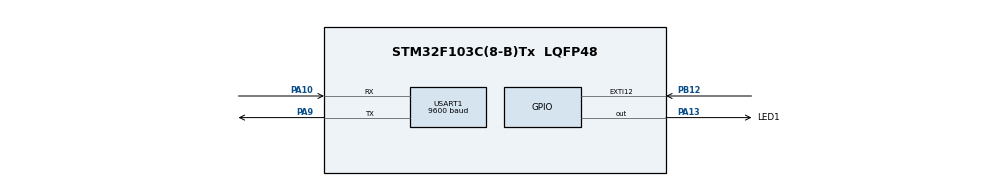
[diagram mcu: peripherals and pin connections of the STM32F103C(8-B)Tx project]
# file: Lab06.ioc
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Mcu.Family=STM32F1
Mcu.Name=STM32F103C(8-B)Tx
Mcu.Package=LQFP48
NVIC.EXTI15_10_IRQn=true\:0\:0\:false\:true\:true\:3\:true\:true\:true
NVIC.PriorityGroup=NVIC_PRIORITYGROUP_4
NVIC.TIM2_IRQn=true\:0\:0\:false\:true\:true\:2\:true\:true\:true
NVIC.USART1_IRQn=true\:0\:0\:false\:true\:true\:1\:true\:true\:true
PA10.Mode=Asynchronous
PA10.Signal=USART1_RX
PA13.GPIO_Label=LED1
PA13.Signal=GPIO_Output
PA9.Mode=Asynchronous
PA9.Signal=USART1_TX
PB12.GPIO_PuPd=GPIO_PULLDOWN
PB12.Signal=GPXTI12
ProjectManager.HeapSize=0x200
ProjectManager.StackSize=0x400
ProjectManager.TargetToolchain=STM32CubeIDE
RCC.APB1Freq_Value=8000000
RCC.APB2Freq_Value=8000000
TIM2.Period=10
TIM2.Prescaler=8000
USART1.BaudRate=9600
USART1.VirtualMode=VM_ASYNC
VP_TIM2_VS_ClockSourceINT.Mode=Internal
board=custom

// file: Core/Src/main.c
/* USER CODE BEGIN Header */
/**
  ******************************************************************************
  * @file           : main.c
  * @brief          : Main program body
  ******************************************************************************
  * @attention
  *
  * Copyright (c) 2023 STMicroelectronics.
  * All rights reserved.
  *
  * This software is licensed under terms that can be found in the LICENSE file
  * in the root directory of this software component.
  * If no LICENSE file comes with this software, it is provided AS-IS.
  *
  ******************************************************************************
  */
/* USER CODE END Header */
#include "main.h"
#include "tim.h"
#include "usart.h"
#include "gpio.h"

/* USER CODE BEGIN Includes */
#include <string.h>
/* USER CODE END Includes */

/* USER CODE BEGIN PV */
int counter;
char buffer[30];
/* USER CODE END PV */

void SystemClock_Config(void);
static void MX_NVIC_Init(void);

int main(void)
{

  /* MCU Configuration--------------------------------------------------------*/

  /* Reset of all peripherals, Initializes the Flash interface and the Systick. */
  HAL_Init();

  /* Configure the system clock */
  SystemClock_Config();

  /* Initialize all configured peripherals */
  MX_GPIO_Init();
  MX_USART1_UART_Init();
  MX_TIM2_Init();

  /* Initialize interrupts */
  MX_NVIC_Init();
  /* USER CODE BEGIN 2 */
  HAL_TIM_Base_Start_IT(&htim2);
  /* USER CODE END 2 */

  /* Infinite loop */
  /* USER CODE BEGIN WHILE */
  while (1)
  {
	  sprintf(buffer, "Counter value: %d\n\r", counter);
		  HAL_UART_Transmit_IT(&huart1, (uint8_t*)buffer, strlen(buffer));
		  HAL_Delay(200);

    /* USER CODE END WHILE */

  }
}

void SystemClock_Config(void)
{
  RCC_OscInitTypeDef RCC_OscInitStruct = {0};
  RCC_ClkInitTypeDef RCC_ClkInitStruct = {0};

  /** Initializes the RCC Oscillators according to the specified parameters
  * in the RCC_OscInitTypeDef structure.
  */
  RCC_OscInitStruct.OscillatorType = RCC_OSCILLATORTYPE_HSI;
  RCC_OscInitStruct.HSIState = RCC_HSI_ON;
  RCC_OscInitStruct.HSICalibrationValue = RCC_HSICALIBRATION_DEFAULT;
  RCC_OscInitStruct.PLL.PLLState = RCC_PLL_NONE;
  if (HAL_RCC_OscConfig(&RCC_OscInitStruct) != HAL_OK)
  {
    Error_Handler();
  }

  /** Initializes the CPU, AHB and APB buses clocks
  */
  RCC_ClkInitStruct.ClockType = RCC_CLOCKTYPE_HCLK|RCC_CLOCKTYPE_SYSCLK
                              |RCC_CLOCKTYPE_PCLK1|RCC_CLOCKTYPE_PCLK2;
  RCC_ClkInitStruct.SYSCLKSource = RCC_SYSCLKSOURCE_HSI;
  RCC_ClkInitStruct.AHBCLKDivider = RCC_SYSCLK_DIV1;
  RCC_ClkInitStruct.APB1CLKDivider = RCC_HCLK_DIV1;
  RCC_ClkInitStruct.APB2CLKDivider = RCC_HCLK_DIV1;

  if (HAL_RCC_ClockConfig(&RCC_ClkInitStruct, FLASH_LATENCY_0) != HAL_OK)
  {
    Error_Handler();
  }
}

/**
  * @brief NVIC Configuration.
  * @retval None
  */
static void MX_NVIC_Init(void)
{
  /* USART1_IRQn interrupt configuration */
  HAL_NVIC_SetPriority(USART1_IRQn, 0, 0);
  HAL_NVIC_EnableIRQ(USART1_IRQn);
  /* TIM2_IRQn interrupt configuration */
  HAL_NVIC_SetPriority(TIM2_IRQn, 0, 0);
  HAL_NVIC_EnableIRQ(TIM2_IRQn);
  /* EXTI15_10_IRQn interrupt configuration */
  HAL_NVIC_SetPriority(EXTI15_10_IRQn, 0, 0);
  HAL_NVIC_EnableIRQ(EXTI15_10_IRQn);
}

/* USER CODE BEGIN 4 */
void HAL_TIM_PeriodElapsedCallback(TIM_HandleTypeDef *htim)
{
  if (htim->Instance == TIM2)
  {
    counter++;
    if (counter >= 1000000)
    {
      counter = 0;
    }
  }
}

void HAL_GPIO_EXTI_Callback(uint16_t GPIO_Pin)
{
	if(GPIO_Pin == GPIO_PIN_12)
	{
		counter = 0;
	}
}
/* USER CODE END 4 */

void Error_Handler(void)
{
  __disable_irq();
  while (1)
  {
  }
}
